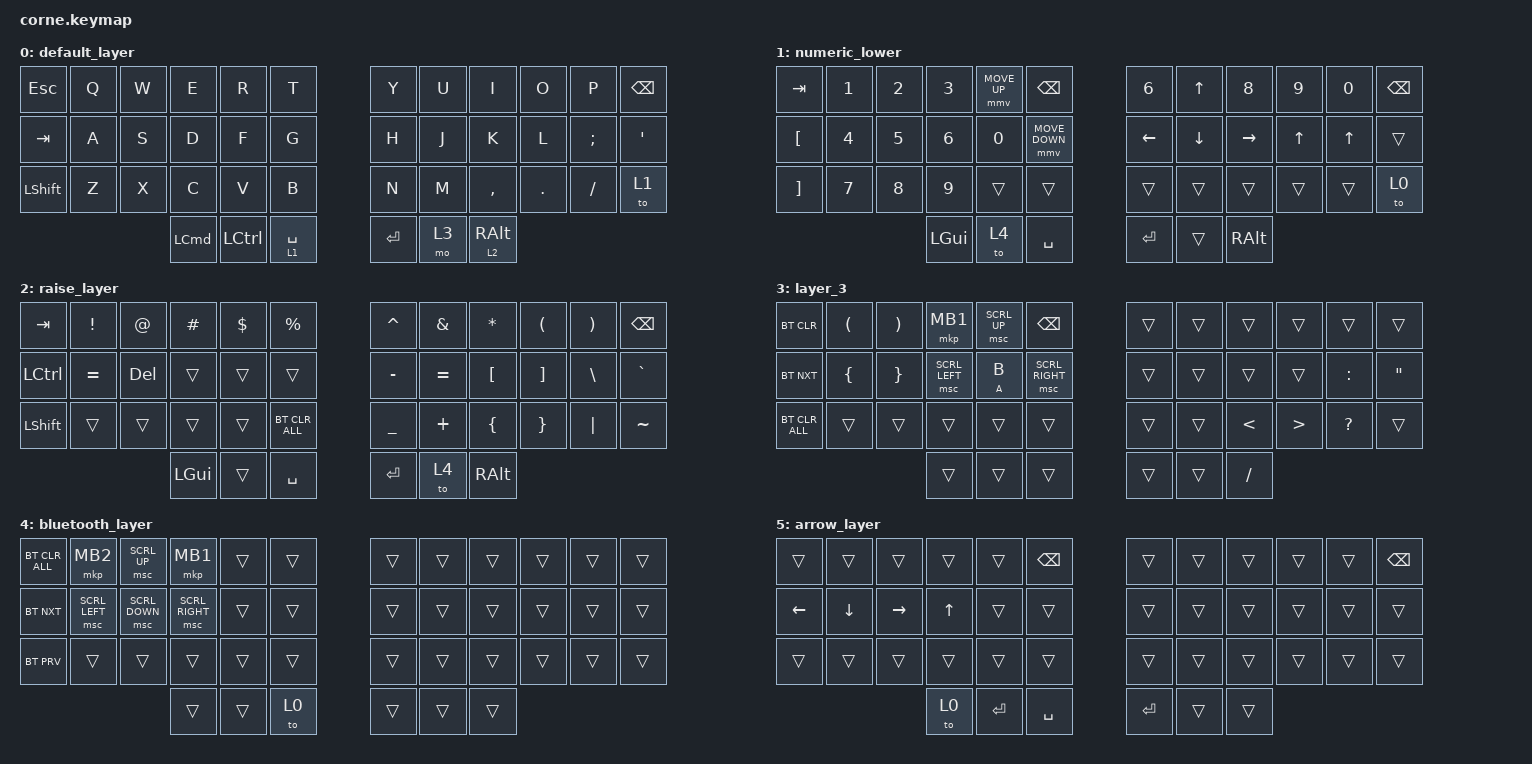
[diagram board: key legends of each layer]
/*
 * Copyright (c) 2020 The ZMK Contributors
 *
 * SPDX-License-Identifier: MIT
 */

#include <behaviors.dtsi>
#include <dt-bindings/zmk/bt.h>
#include <dt-bindings/zmk/keys.h>
#include <dt-bindings/zmk/pointing.h>

/ {
    combos {
        compatible = "zmk,combos";

        interrogation {
            bindings = <&kp QUESTION>;
            key-positions = <0 12>;
        };

        exclamation {
            bindings = <&kp LS(EXCLAMATION)>;
            key-positions = <1 13>;
        };

        arroba {
            bindings = <&kp AT_SIGN>;
            key-positions = <2 14>;
        };

        equals {
            bindings = <&kp EQUAL>;
            key-positions = <12 24>;
        };

        tilde {
            bindings = <&kp TILDE>;
            key-positions = <13 25>;
        };

        tildetwo {
            bindings = <&kp TILDE>;
            key-positions = <9 21>;
        };

        projectIntellij {
            bindings = <&kp LA(NUMBER_1)>;
            key-positions = <1 2 0>;
        };

        commitIntellij {
            bindings = <&kp LA(N0)>;
            key-positions = <13 14 12>;
        };

        buildIntellij {
            bindings = <&kp LS(F9)>;
            key-positions = <1 13 25>;
        };

        righParenteses {
            bindings = <&kp RIGHT_PARENTHESIS>;
            key-positions = <7 19>;
        };

        leftParenteses {
            bindings = <&kp LEFT_PARENTHESIS>;
            key-positions = <6 18>;
        };

        leftBrace {
            bindings = <&kp LEFT_BRACE>;
            key-positions = <8 20>;
        };

        rightBrace {
            bindings = <&kp RIGHT_BRACE>;
            key-positions = <9 21 33>;
        };

        underline {
            bindings = <&kp UNDER>;
            key-positions = <18 30>;
        };

        conditional {
            bindings = <&kp AMPERSAND>;
            key-positions = <19 31>;
        };

        or {
            bindings = <&kp PIPE>;
            key-positions = <20 32>;
        };

        leftBracket {
            bindings = <&kp LEFT_BRACKET>;
            key-positions = <21 33>;
        };

        rightBracket {
            bindings = <&kp RIGHT_BRACKET>;
            key-positions = <22 34>;
        };

        alt {
            bindings = <&kp LEFT_ALT>;
            key-positions = <15 16 17>;
        };

        cedilha {
            bindings = <&kp RG(C)>;
            key-positions = <23 35>;
        };
    };

    keymap {
        compatible = "zmk,keymap";

        default_layer {
            // -----------------------------------------------------------------------------------------
            // |  TAB |  Q  |  W  |  E  |  R  |  T  |   |  Y  |  U   |  I  |  O  |  P  | BSPC |
            // | CTRL |  A  |  S  |  D  |  F  |  G  |   |  H  |  J   |  K  |  L  |  ;  |  '   |
            // | SHFT |  Z  |  X  |  C  |  V  |  B  |   |  N  |  M   |  ,  |  .  |  /  | ESC  |
            //                    | GUI | LWR | SPC |   | ENT | RSE  | ALT |

            bindings = <
&kp ESC         &kp Q  &kp W  &kp E             &kp R             &kp T          &kp Y    &kp U  &kp I            &kp O    &kp P     &kp BSPC
&kp TAB         &kp A  &kp S  &kp D             &kp F             &kp G          &kp H    &kp J  &kp K            &kp L    &kp SEMI  &kp SQT
&kp LEFT_SHIFT  &kp Z  &kp X  &kp C             &kp V             &kp B          &kp N    &kp M  &kp COMMA        &kp DOT  &kp FSLH  &to 1
                              &kp LEFT_COMMAND  &kp LEFT_CONTROL  &lt 1 SPACE    &kp RET  &mo 3  &lt 2 RIGHT_ALT
            >;
        };

        numeric_lower {
            // -----------------------------------------------------------------------------------------
            // |  TAB |  1  |  2  |  3  |  4  |  5  |   |  6  |  7  |  8  |  9  |  0  | BSPC |
            // | BTCLR| BT1 | BT2 | BT3 | BT4 | BT5 |   | LFT | DWN |  UP | RGT |     |      |
            // | SHFT |     |     |     |     |     |   |     |     |     |     |     |      |
            //                    | GUI |     | SPC |   | ENT |     | ALT |

            bindings = <
&kp TAB            &kp N1        &kp N2  &kp N3        &mmv MOVE_UP  &kp BACKSPACE     &kp N6    &kp UP_ARROW  &kp N8     &kp N9        &kp N0        &kp BSPC
&kp LEFT_BRACKET   &kp NUMBER_4  &kp N5  &kp NUMBER_6  &kp N0        &mmv MOVE_DOWN    &kp LEFT  &kp DOWN      &kp RIGHT  &kp UP_ARROW  &kp UP_ARROW  &trans
&kp RIGHT_BRACKET  &kp N7        &kp N8  &kp N9        &trans        &trans            &trans    &trans        &trans     &trans        &trans        &to 0
                                         &kp LGUI      &to 4         &kp SPACE         &kp RET   &trans        &kp RALT
            >;
        };

        raise_layer {
            // -----------------------------------------------------------------------------------------
            // |  TAB |  !  |  @  |  #  |  $  |  %  |   |  ^  |  &  |  *  |  (  |  )  | BSPC |
            // | CTRL |     |     |     |     |     |   |  -  |  =  |  [  |  ]  |  \  |  `   |
            // | SHFT |     |     |     |     |     |   |  _  |  +  |  {  |  }  | "|" |  ~   |
            //                    | GUI |     | SPC |   | ENT |     | ALT |

            bindings = <
&kp TAB    &kp EXCL   &kp AT      &kp HASH  &kp DLLR  &kp PRCNT         &kp CARET  &kp AMPS   &kp ASTRK  &kp LPAR  &kp RPAR  &kp BSPC
&kp LCTRL  &kp EQUAL  &kp DELETE  &trans    &trans    &trans            &kp MINUS  &kp EQUAL  &kp LBKT   &kp RBKT  &kp BSLH  &kp GRAVE
&kp LSHFT  &trans     &trans      &trans    &trans    &bt BT_CLR_ALL    &kp UNDER  &kp PLUS   &kp LBRC   &kp RBRC  &kp PIPE  &kp TILDE
                                  &kp LGUI  &trans    &kp SPACE         &kp RET    &to 4      &kp RALT
            >;
        };

        layer_3 {
            bindings = <
&bt BT_CLR      &kp LEFT_PARENTHESIS  &kp RIGHT_PARENTHESIS  &mkp MB1        &msc SCRL_UP  &kp BACKSPACE      &trans  &trans  &trans         &trans            &trans        &trans
&bt BT_NXT      &kp LEFT_BRACE        &kp RIGHT_BRACE        &msc SCRL_LEFT  &mt A B       &msc SCRL_RIGHT    &trans  &trans  &trans         &trans            &kp COLON     &kp DOUBLE_QUOTES
&bt BT_CLR_ALL  &trans                &trans                 &trans          &trans        &trans             &trans  &trans  &kp LESS_THAN  &kp GREATER_THAN  &kp QUESTION  &trans
                                                             &trans          &trans        &trans             &trans  &trans  &kp SLASH
            >;
        };

        bluetooth_layer {
            bindings = <
&bt BT_CLR_ALL  &mkp MB2        &msc SCRL_UP    &mkp MB1         &trans  &trans    &trans  &trans  &trans  &trans  &trans  &trans
&bt BT_NXT      &msc SCRL_LEFT  &msc SCRL_DOWN  &msc SCRL_RIGHT  &trans  &trans    &trans  &trans  &trans  &trans  &trans  &trans
&bt BT_PRV      &trans          &trans          &trans           &trans  &trans    &trans  &trans  &trans  &trans  &trans  &trans
                                                &trans           &trans  &to 0     &trans  &trans  &trans
            >;
        };

        arrow_layer {
            bindings = <
&trans          &trans          &trans           &trans        &trans     &kp BACKSPACE    &trans      &trans  &trans  &trans  &trans  &kp BACKSPACE
&kp LEFT_ARROW  &kp DOWN_ARROW  &kp RIGHT_ARROW  &kp UP_ARROW  &trans     &trans           &trans      &trans  &trans  &trans  &trans  &trans
&trans          &trans          &trans           &trans        &trans     &trans           &trans      &trans  &trans  &trans  &trans  &trans
                                                 &to 0         &kp ENTER  &kp SPACE        &kp RETURN  &trans  &trans
            >;
        };
    };

    conditional_layers {
        compatible = "zmk,conditional-layers";

        qa {
            if-layers = <1>;
            then-layer = <1>;
        };

        ws {
            if-layers = <2>;
            then-layer = <2>;
        };
    };
};
